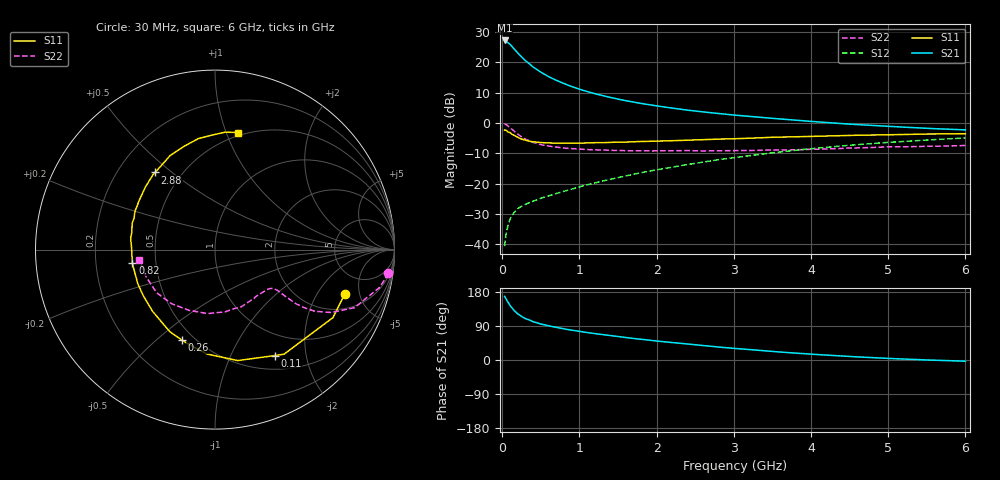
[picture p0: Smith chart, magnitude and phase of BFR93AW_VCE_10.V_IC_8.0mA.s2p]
! Infineon Technologies  Discrete & RF Semiconductors
! BFR93AW
! VCE =  10. V,  IC =  8.0 mA
! Common Emitter S-Parameters:  Nov 2015
# GHz  S  MA  R  50
!  f  S11  S21  S12  S22
! GHz  MAG  ANG  MAG  ANG  MAG  ANG  MAG  ANG
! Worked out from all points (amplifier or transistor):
!   206 points, 30 MHz to 6 GHz, reference 50 ohm
!   highest |S21| = 27.2 dB at 30 MHz (marker M1)
!   |S21| within 3 dB of that: start of sweep to 160.8 MHz
!   unconditionally stable (mu >= 1): 817.8 MHz to 2.194 GHz
!   at 200 MHz: K = 0.42, MSG = 25.7 dB, |S12| = -28.3 dB
!   at 1.56 GHz: K = 1.07, MAG = 11.0 dB, |S12| = -17.7 dB
!   at 6 GHz: K = 0.88, MSG = 1.3 dB, |S12| = -5.0 dB
!   S11 on the Smith chart (normalised r, x): 30 MHz: 3.00, -3.58; 110 MHz: 0.68, -1.49; 260 MHz: 0.43, -0.61; 820 MHz: 0.37, -0.07; 2.88 GHz: 0.36, +0.44; 6 GHz: 0.47, +1.10
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0.03  0.764 -19.0  22.92 167.9  0.0093 78.6  0.9752 -7.8
0.05  0.7585 -30.0  22.42 160.0  0.0151 75.5  0.943 -12.8
0.1  0.6983 -56.6  19.84 143.6  0.026 64.9  0.842 -22.6
0.11  0.6775 -60.6  19.17 141.4  0.0274 63.3  0.8203 -23.6
0.15  0.6312 -78.4  16.8 130.9  0.0331 58.2  0.7368 -28.4
0.2  0.5835 -94.4  14.28 121.7  0.0386 53.9  0.6543 -31.7
0.24  0.5476 -105.3  12.61 116.3  0.0416 52.2  0.6007 -32.9
0.26  0.5365 -110.3  11.89 113.7  0.043 51.7  0.5782 -33.3
0.3  0.5221 -118.9  10.64 109.2  0.0456 51.1  0.5416 -33.8
0.4  0.489 -135.4  8.342 101.0  0.0514 52.2  0.4769 -33.6
0.5  0.475 -147.4  6.865 94.8  0.0574 54.0  0.4378 -33.3
0.6  0.4703 -156.1  5.799 90.0  0.0627 55.5  0.415 -33.1
0.82  0.4657 -171.0  4.343 81.4  0.0763 59.8  0.3829 -34.4
1.04  0.4656 178.2  3.473 74.3  0.0914 63.0  0.3682 -36.8
1.2  0.4743 171.8  3.032 69.6  0.1026 64.5  0.3612 -39.2
1.5  0.4845 162.3  2.467 61.9  0.1257 66.6  0.3529 -44.9
2.02  0.5032 147.3  1.893 49.6  0.1706 67.2  0.3467 -56.8
2.88  0.5443 127.8  1.399 32.8  0.2558 63.6  0.3489 -78.0
3.1  0.5539 123.2  1.316 29.2  0.2781 61.9  0.3508 -84.1
4.1  0.6051 104.9  1.039 14.1  0.3866 52.4  0.3696 -116.3
5.1  0.6411 90.2  0.866 3.3  0.4872 40.6  0.4038 -146.6
6  0.6644 79.1  0.769 -3.2  0.5653 29.9  0.4253 -171.9
